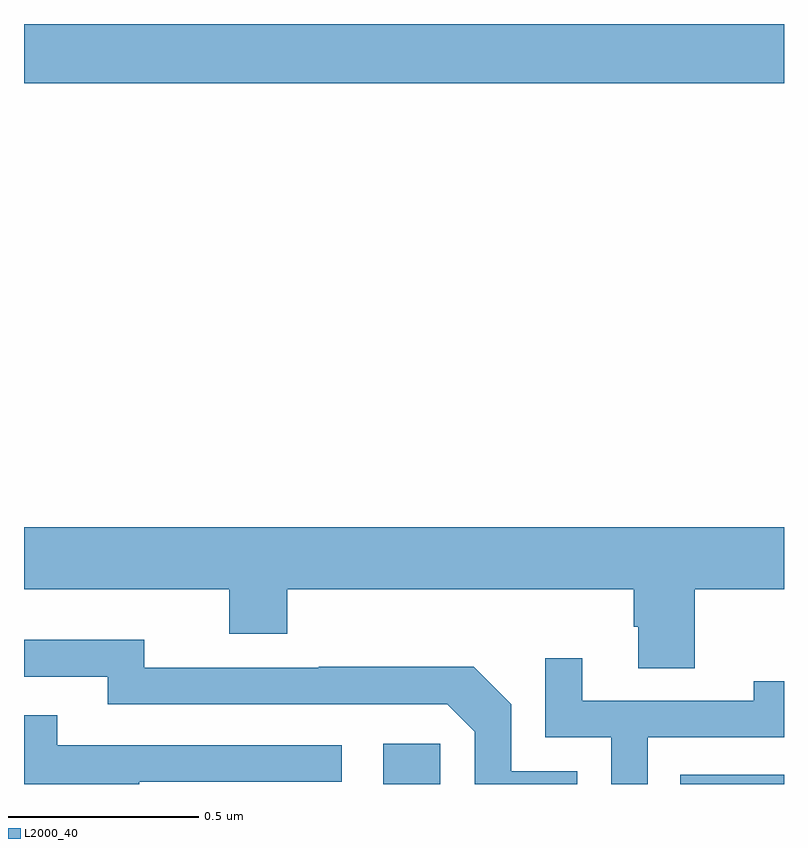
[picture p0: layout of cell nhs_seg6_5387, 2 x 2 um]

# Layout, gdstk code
import gdstk
lib = gdstk.Library(unit=1e-6, precision=1e-09)
def R(c, l, rs):  # rectangles x0, y0, x1, y1
    for r in rs: c.add(gdstk.rectangle(r[:2], r[2:], *l))
def P(c, l, *ps):  # polygons
    for p in ps: c.add(gdstk.Polygon(p, *l))
L2000_40 = (2000, 40)

nhs_seg6_5387 = lib.new_cell('nhs_seg6_5387')
R(nhs_seg6_5387, L2000_40, [(182.946,937.5,183.096,937.606), (183.727,937.5,184,937.524), (182,939.344,184,939.5)])
P(nhs_seg6_5387, L2000_40, [(183.765,938.012),(184,938.012),(184,938.176),(182,938.176),(182,938.012),(182.54,938.012),(182.54,937.895),(182.693,937.895),(182.693,938.012),(183.605,938.012),(183.605,937.914),(183.617,937.914),(183.617,937.804),(183.765,937.804)],
  [(183.456,937.533),(183.282,937.533),(183.282,937.71),(183.184,937.808),(182.776,937.808),(182.776,937.806),(182.316,937.806),(182.316,937.879),(182,937.879),(182,937.782),(182.22,937.782),(182.22,937.71),(183.114,937.71),(183.186,937.638),(183.186,937.5),(183.456,937.5)],
  [(183.642,937.623),(184,937.623),(184,937.771),(183.92,937.771),(183.92,937.719),(183.469,937.719),(183.469,937.831),(183.372,937.831),(183.372,937.623),(183.546,937.623),(183.546,937.5),(183.642,937.5)],
  [(182.303,937.506),(182.836,937.506),(182.836,937.602),(182.087,937.602),(182.087,937.681),(182,937.681),(182,937.5),(182.303,937.5)])

lib.write_gds('nhs_seg6_5387.gds')
